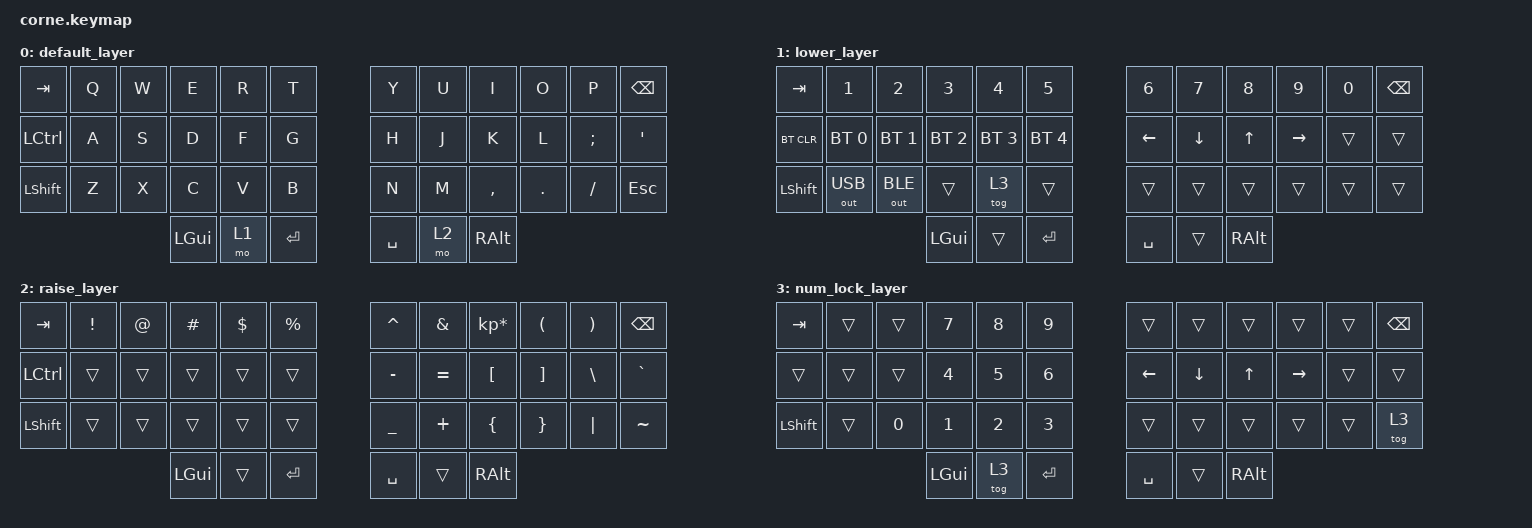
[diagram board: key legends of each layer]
/*
 * Copyright (c) 2020 The ZMK Contributors
 *
 * SPDX-License-Identifier: MIT
 */

#include <behaviors.dtsi>
#include <dt-bindings/zmk/keys.h>
#include <dt-bindings/zmk/bt.h>
#include <dt-bindings/zmk/outputs.h>
#include <dt-bindings/zmk/rgb.h>
#include <dt-bindings/zmk/backlight.h>

/ {
        keymap {
                compatible = "zmk,keymap";

                default_layer {
// -----------------------------------------------------------------------------------------
// |  TAB |  Q  |  W  |  E  |  R  |  T  |   |  Y  |  U   |  I  |  O  |  P  | BKSP |
// | CTRL |  A  |  S  |  D  |  F  |  G  |   |  H  |  J   |  K  |  L  |  ;  |  '   |
// | SHFT |  Z  |  X  |  C  |  V  |  B  |   |  N  |  M   |  ,  |  .  |  /  | ESC  |
//                    | GUI | LWR | RET |   | SPC | RSE  | ALT |
                        bindings = <
   &kp TAB   &kp Q &kp W &kp E &kp R &kp T   &kp Y &kp U  &kp I     &kp O   &kp P    &kp BSPC
   &kp LCTRL &kp A &kp S &kp D &kp F &kp G   &kp H &kp J  &kp K     &kp L   &kp SEMI &kp SQT
   &kp LSHFT &kp Z &kp X &kp C &kp V &kp B   &kp N &kp M  &kp COMMA &kp DOT &kp FSLH &kp ESC
                  &kp LGUI &mo 1 &kp RET     &kp SPACE &mo 2 &kp RALT
                        >;
                };
                lower_layer {
// -----------------------------------------------------------------------------------------
// |  TAB |  1  |  2  |  3  |  4  |  5  |   |  6  |  7  |  8  |  9  |  0  | BKSP |
// | BTCLR| BT1 | BT2 | BT3 | BT4 | BT5 |   | LFT | DWN |  UP | RGT |     |      |
// | SHFT | USB | BLE |     | NUM |     |   |     |     |     |     |     |      |
//                    | GUI |     | ENT |   | SPC |     | ALT |
                        bindings = <
   &kp TAB    &kp N1       &kp N2       &kp N3       &kp N4       &kp N5         &kp N6   &kp N7   &kp N8 &kp N9    &kp N0 &kp BSPC
   &bt BT_CLR &bt BT_SEL 0 &bt BT_SEL 1 &bt BT_SEL 2 &bt BT_SEL 3 &bt BT_SEL 4   &kp LEFT &kp DOWN &kp UP &kp RIGHT &trans &trans
   &kp LSHFT  &out OUT_USB &out OUT_BLE &trans       &tog 3       &trans         &trans   &trans   &trans &trans    &trans &trans
                          	        &kp LGUI     &trans       &kp RET        &kp SPACE &trans   &kp RALT
                        >;
                };

                raise_layer {
// -----------------------------------------------------------------------------------------
// |  TAB |  !  |  @  |  #  |  $  |  %  |   |  ^  |  &  |  *  |  (  |  )  | BKSP |
// | CTRL |     |     |     |     |     |   |  -  |  =  |  [  |  ]  |  \  |  `   |
// | SHFT |     |     |     |     |     |   |  _  |  +  |  {  |  }  | "|" |  ~   |
//                    | GUI |     | ENT |   | SPC |     | ALT |
                        bindings = <
   &kp  TAB  &kp EXCL &kp AT &kp POUND &kp DLLR &kp PRCNT   &kp CARET &kp AMPS  &kp KP_MULTIPLY &kp LPAR &kp RPAR &kp BSPC
   &kp LCTRL &trans   &trans &trans    &trans   &trans      &kp MINUS &kp EQUAL &kp LBKT        &kp RBKT &kp BSLH &kp GRAVE
   &kp LSHFT &trans   &trans &trans    &trans   &trans      &kp UNDER &kp PLUS  &kp LBRC        &kp RBRC &kp PIPE &kp TILDE
                    	     &kp LGUI  &trans   &kp RET     &kp SPACE &trans    &kp RALT
                        >;
                };
                
                num_lock_layer {
// -----------------------------------------------------------------------------------------
// |  TAB |  *  |  /  |  7  |  8  |  9  |   |     |     |     |     |     | BKSP  |
// | trans|  +  |  -  |  4  |  5  |  6  |   | LFT | DWN |  UP | RGT |     |       |
// | SHFT |     |  0  |  1  |  2  |  3  |   |     |     |     |     |     |  BAK  |
//                    | GUI | BAK | ENT |   | SPC |     | ALT |
                        bindings = <
   &kp TAB   &trans  &trans  &kp N7   &kp N8  &kp N9    &trans   &trans   &trans &trans    &trans &kp BSPC
   &trans    &trans  &trans  &kp N4   &kp N5  &kp N6    &kp LEFT &kp DOWN &kp UP &kp RIGHT &trans &trans
   &kp LSHFT &trans  &kp N0  &kp N1   &kp N2  &kp N3    &trans   &trans   &trans &trans    &trans &tog 3
                             &kp LGUI &tog 3  &kp RET   &kp SPACE &trans   &kp RALT
                        >;

                };
                
                
        };
};
